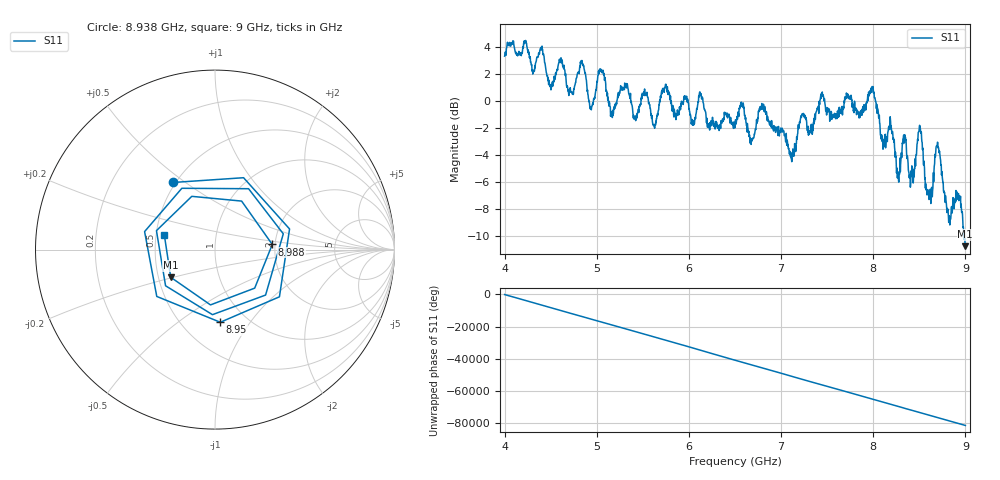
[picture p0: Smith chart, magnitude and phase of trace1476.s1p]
! Created with skrf 1.8.0 (http://scikit-rf.org).
# Hz S RI R 50.0
!freq ReS11 ImS11
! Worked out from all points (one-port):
!   1601 points, 4 GHz to 9 GHz, reference 50 ohm
!   lowest |S11| = -10.7 dB at 8.997 GHz (marker M1), VSWR 1.82, Z = 29 - j9.77 ohm
!   |S11| at or under -10 dB: 8.982433 GHz to 8.986621 GHz (4.188 MHz wide, 0.0466 % of centre); 8.98903 GHz to end of sweep
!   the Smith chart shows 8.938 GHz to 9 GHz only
!   S11 on the Smith chart (normalised r, x): 8.938 GHz: 0.49, +0.45; 8.95 GHz: 0.76, -0.73; 8.988 GHz: 1.93, +0.12; 9 GHz: 0.55, +0.10
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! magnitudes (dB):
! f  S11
! 4 GHz  3.3
! 4.625 GHz  3.1
! 4.722 GHz  0.7
! 4.847 GHz  2.7
! 4.938 GHz  -0.6
! 5.044 GHz  2.4
! 5.159 GHz  -0.8
! 5.25 GHz  0.6
! 5.875 GHz  -0.6
! 6.5 GHz  -2.0
! 6.688 GHz  -2.8
! 6.803 GHz  -0.4
! 7.125 GHz  -4.0
! 7.438 GHz  0.6
! 7.75 GHz  0.2
! 7.988 GHz  1.1
! 8.262 GHz  -5.7
! 8.375 GHz  -4.4
! 8.428 GHz  -5.1
! 8.506 GHz  -1.8
! 8.603 GHz  -7.0
! 8.7 GHz  -3.1
! 8.819 GHz  -9.0
! 8.938 GHz  -7.1
! 8.95 GHz  -7.8
! 8.988 GHz  -9.9
! 8.997 GHz  -10.7
! 9 GHz  -10.6
